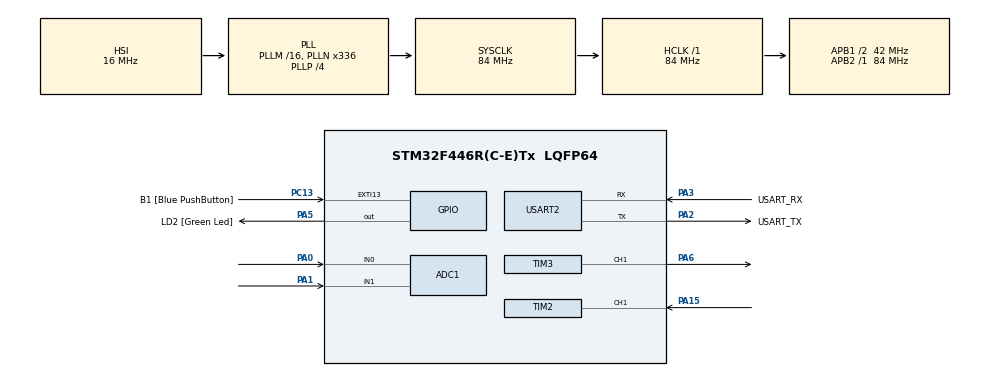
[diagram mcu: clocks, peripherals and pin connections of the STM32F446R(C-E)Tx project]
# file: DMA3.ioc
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Mcu.Family=STM32F4
Dma.TIM2_CH1.0.MemInc=DMA_MINC_ENABLE
PH0-OSC_IN.Signal=RCC_OSC_IN
RCC.CortexFreq_Value=84000000
TIM2.Channel-Input_Capture1_from_TI1=TIM_CHANNEL_1
Dma.USART2_TX.1.MemInc=DMA_MINC_ENABLE
PA14.GPIO_Label=TCK
Dma.TIM2_CH1.0.Instance=DMA1_Stream5
PC13.GPIO_Label=B1 [Blue PushButton]
RCC.SYSCLKSource=RCC_SYSCLKSOURCE_PLLCLK
ProjectManager.StackSize=0x400
Mcu.UserConstants=ARRT3_MIN,5999;ARRT3_MAX,41999
TIM2.ICPolarity_CH1=TIM_INPUTCHANNELPOLARITY_BOTHEDGE
RCC.HCLKFreq_Value=84000000
RCC.APB2TimFreq_Value=84000000
TIM3.Period=41999
VP_TIM10_VS_ClockSourceINT.Mode=Enable_Timer
Dma.USART2_TX.1.Mode=DMA_NORMAL
NVIC.DMA2_Stream0_IRQn=true\:0\:0\:false\:false\:true\:false\:true
RCC.AHBFreq_Value=84000000
PH0-OSC_IN.Mode=HSE-External-Oscillator
TIM3.Channel-PWM\ Generation1\ CH1=TIM_CHANNEL_1
NVIC.EXTI15_10_IRQn=true\:0\:0\:false\:false\:true\:true\:true
ADC1.Channel-0\#ChannelRegularConversion=ADC_CHANNEL_0
TIM10.AutoReloadPreload=TIM_AUTORELOAD_PRELOAD_DISABLE
NVIC.TIM1_TRG_COM_TIM11_IRQn=true\:0\:0\:false\:false\:true\:true\:true
RCC.HSE_VALUE=8000000
NVIC.TIM8_TRG_COM_TIM14_IRQn=true\:0\:0\:false\:false\:true\:true\:true
Dma.ADC1.2.MemDataAlignment=DMA_MDATAALIGN_HALFWORD
PC14-OSC32_IN.Mode=LSE-External-Oscillator
PA14.Mode=Serial_Wire
Dma.USART2_TX.1.Instance=DMA1_Stream6
TIM3.Prescaler=1999
NVIC.TIM2_IRQn=true\:0\:0\:false\:false\:true\:true\:true
Dma.ADC1.2.Direction=DMA_PERIPH_TO_MEMORY
SH.ADCx_IN0.0=ADC1_IN0,IN0
SH.S_TIM3_CH1.0=TIM3_CH1,PWM Generation1 CH1
ADC1.SamplingTime-0\#ChannelRegularConversion=ADC_SAMPLETIME_3CYCLES
RCC.FLatency-AdvancedSettings=FLASH_LATENCY_2
TIM3.OCPolarity_1=TIM_OCPOLARITY_LOW
PH1-OSC_OUT.Mode=HSE-External-Oscillator
Mcu.Package=LQFP64
TIM2.Prescaler=83
PA6.Signal=S_TIM3_CH1
Dma.TIM2_CH1.0.FIFOMode=DMA_FIFOMODE_DISABLE
USART2.VirtualMode=VM_ASYNC
PA2.GPIO_Label=USART_TX
PA15.Signal=S_TIM2_CH1_ETR
Dma.TIM2_CH1.0.PeriphDataAlignment=DMA_PDATAALIGN_WORD
TIM8.Prescaler=999
SH.ADCx_IN1.0=ADC1_IN1,IN1
Dma.Request2=ADC1
Dma.Request1=USART2_TX
RCC.APB1TimFreq_Value=84000000
NVIC.DMA1_Stream6_IRQn=true\:0\:0\:false\:false\:true\:false\:true
Dma.Request0=TIM2_CH1
Dma.TIM2_CH1.0.Direction=DMA_PERIPH_TO_MEMORY
VP_TIM3_VS_ClockSourceINT.Mode=Internal
Dma.ADC1.2.Mode=DMA_NORMAL
PA3.Signal=USART2_RX
PB3.GPIO_Label=SWO
TIM10.Prescaler=1999
PC15-OSC32_OUT.Mode=LSE-External-Oscillator
Dma.USART2_TX.1.Priority=DMA_PRIORITY_HIGH
ADC1.Rank-0\#ChannelRegularConversion=1
Dma.USART2_TX.1.FIFOMode=DMA_FIFOMODE_DISABLE
TIM3.AutoReloadPreload=TIM_AUTORELOAD_PRELOAD_ENABLE
PC13.Signal=GPXTI13
Dma.ADC1.2.PeriphDataAlignment=DMA_PDATAALIGN_HALFWORD
TIM11.Prescaler=1999
RCC.APB1CLKDivider=RCC_HCLK_DIV2
PC14-OSC32_IN.Signal=RCC_OSC32_IN
Dma.USART2_TX.1.PeriphDataAlignment=DMA_PDATAALIGN_BYTE
NVIC.USART2_IRQn=true\:0\:0\:false\:false\:true\:true\:true
PA0-WKUP.Signal=ADCx_IN0
VP_TIM11_VS_ClockSourceINT.Mode=Enable_Timer
PA3.Mode=Asynchronous
PA13.Signal=SYS_JTMS-SWDIO
Dma.ADC1.2.MemInc=DMA_MINC_ENABLE
NVIC.TIM8_CC_IRQn=true\:0\:0\:false\:false\:true\:true\:true
TIM3.Pulse-PWM\ Generation1\ CH1=20999
ProjectManager.TargetToolchain=STM32CubeIDE
NVIC.DMA1_Stream5_IRQn=true\:0\:0\:false\:false\:true\:false\:true
NVIC.TIM8_BRK_TIM12_IRQn=true\:0\:0\:false\:false\:true\:true\:true
ADC1.Channel-1\#ChannelRegularConversion=ADC_CHANNEL_1
VP_TIM8_VS_ClockSourceINT.Mode=Internal
RCC.USBFreq_Value=168000000
PC15-OSC32_OUT.Signal=RCC_OSC32_OUT
PA1.Signal=ADCx_IN1
PA5.Signal=GPIO_Output
Dma.USART2_TX.1.PeriphInc=DMA_PINC_DISABLE
board=NUCLEO-F446RE
RCC.VCOOutputFreq_Value=336000000
NVIC.TIM3_IRQn=true\:0\:0\:false\:false\:true\:true\:true
TIM11.Period=41999
TIM10.Period=41999
Dma.USART2_TX.1.Direction=DMA_MEMORY_TO_PERIPH
RCC.APB2Freq_Value=84000000
Dma.TIM2_CH1.0.Priority=DMA_PRIORITY_VERY_HIGH
VP_TIM2_VS_ClockSourceINT.Mode=Internal
PH1-OSC_OUT.Signal=RCC_OSC_OUT
ADC1.DMAContinuousRequests=ENABLE
TIM2.Period=999999
ADC1.NbrOfConversion=2
PA13.Mode=Serial_Wire
Mcu.Name=STM32F446R(C-E)Tx
PA2.Signal=USART2_TX
PA13.GPIO_Label=TMS
Dma.ADC1.2.Instance=DMA2_Stream0
ADC1.ExternalTrigConv=ADC_EXTERNALTRIGCONV_T8_TRGO
TIM8.Period=139
RCC.48MHZClocksFreq_Value=84000000
PB3.Signal=SYS_JTDO-SWO
ADC1.SamplingTime-1\#ChannelRegularConversion=ADC_SAMPLETIME_3CYCLES
RCC.SYSCLKFreq_VALUE=84000000
Dma.ADC1.2.Priority=DMA_PRIORITY_LOW
Dma.TIM2_CH1.0.Mode=DMA_NORMAL
ADC1.master=1
PA5.GPIO_Label=LD2 [Green Led]
Dma.ADC1.2.PeriphInc=DMA_PINC_DISABLE
TIM8.TIM_MasterOutputTrigger=TIM_TRGO_UPDATE
PC13.GPIO_ModeDefaultEXTI=GPIO_MODE_IT_FALLING
ADC1.Rank-1\#ChannelRegularConversion=2
SH.S_TIM2_CH1_ETR.0=TIM2_CH1,Input_Capture1_from_TI1
Dma.TIM2_CH1.0.MemDataAlignment=DMA_MDATAALIGN_WORD
PA14.Signal=SYS_JTCK-SWCLK
ProjectManager.HeapSize=0x200
Dma.ADC1.2.FIFOMode=DMA_FIFOMODE_DISABLE
RCC.HSI_VALUE=16000000
NVIC.TIM8_UP_TIM13_IRQn=true\:0\:0\:false\:false\:true\:true\:true
TIM11.AutoReloadPreload=TIM_AUTORELOAD_PRELOAD_DISABLE
RCC.PLLP=RCC_PLLP_DIV4
NVIC.PriorityGroup=NVIC_PRIORITYGROUP_0
ADC1.NbrOfConversionFlag=1
RCC.PLLN=336
PA2.Mode=Asynchronous
Dma.USART2_TX.1.MemDataAlignment=DMA_MDATAALIGN_BYTE
RCC.APB1Freq_Value=42000000
Dma.TIM2_CH1.0.PeriphInc=DMA_PINC_DISABLE
PA3.GPIO_Label=USART_RX

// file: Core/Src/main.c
/**
 * Jaqueline Maurer Machado		Turma 4422		Nº 11
 * Exercício 3 da Lista de DMA
 */

/* USER CODE BEGIN Header */
/**
  ******************************************************************************
  * @file           : main.c
  * @brief          : Main program body
  ******************************************************************************
  * @attention
  *
  * <h2><center>&copy; Copyright (c) 2021 STMicroelectronics.
  * All rights reserved.</center></h2>
  *
  * This software component is licensed by ST under BSD 3-Clause license,
  * the "License"; You may not use this file except in compliance with the
  * License. You may obtain a copy of the License at:
  *                        opensource.org/licenses/BSD-3-Clause
  *
  ******************************************************************************
  */
/* USER CODE END Header */
#include "main.h"
#include "adc.h"
#include "dma.h"
#include "tim.h"
#include "usart.h"
#include "gpio.h"
#include <stdio.h>
#include <string.h>

/* USER CODE BEGIN PV */
///variavel que confere o primeiro valor medido do periodo
int64_t initVal = -1;
///variavel que pega o final da medição do periodo
int64_t valI = 0;
///variavel que controla o numero de estouros do timer dentro de uma medição
int64_t valE = 0;
///volatile significa que o DMA nao consegue escrever se nao for especificado que eh volatile
///volatile → alguma coisa de fora ira mudar o valor dessa variavel (DMA, ADC...)
///usar volatil se o valor da variavel for alterado, se só for lido nao precisa
volatile uint64_t value;
///flag para o timer 2
uint8_t flag = 0;
///flag para o timer 10, que exibe a mensagem da serial
uint8_t flagT = 0;
///flag que controla quando acontece a interrupção externa pelo PC13
uint8_t flagP = 0;
///variavel para calcular o periodo
uint64_t periodo = 0;
///variavel que pega o meio do periodo → borda de subida ou descida, dependendo o caso
uint64_t periodoI = 0;
///realiza 4 medições para depois fazer a media
volatile uint16_t medidas[4];
///variáveis para calcular as médias
uint16_t media1;
uint16_t media2;
///string usada para imprimir a mensagem na serial
char msg[50];

/* USER CODE END PV */

void SystemClock_Config(void);

int main(void)
{

  /* MCU Configuration--------------------------------------------------------*/

  /* Reset of all peripherals, Initializes the Flash interface and the Systick. */
  HAL_Init();

  /* Configure the system clock */
  SystemClock_Config();

  /* Initialize all configured peripherals */
  MX_GPIO_Init();
  MX_DMA_Init();
  MX_USART2_UART_Init();
  MX_TIM2_Init();
  MX_TIM3_Init();
  MX_TIM10_Init();
  MX_TIM11_Init();
  MX_ADC1_Init();
  MX_TIM8_Init();
  /* USER CODE BEGIN 2 */
  HAL_TIM_Base_Start(&htim10); ///habilita o timer 10

  HAL_TIM_Base_Start_IT(&htim11); ///habilita o timer 11

  ///foi usado o timer 2 pois ele possui um valor maior que pode ser usado no ARR para dar o valor do periodo direto em micro segundos
  ///E colocar ambas as bordas na corfiguracao para fazer o que o exercicio pede
  HAL_TIM_IC_Start_DMA(&htim2, TIM_CHANNEL_1, &value, 1); ///Habilita o Input Capture com DMA do Timer2 → PA15 → canal 1

  HAL_TIM_PWM_Start_IT(&htim3, TIM_CHANNEL_1); ///PWM usado para gerar um sinal que sera usado para medir se o programa esta funcioando → marcar a opçao para ele começar desligado
  ///sempre desliga no estouro do timer → colocando a frequencia do timer vai ser a frequencia do sinal
  ///PWM → modulação de largura de pulso

  HAL_TIM_Base_Start_IT(&htim8); ///habilita uma frequencia aleatoria de PSC = 999 e ARR = 139
  ///Trigger Output → ativar o Update Event

  ///no IOC, o ADC esta configurado para ser ativado pelo timer, para continuar a sequencia de 4 medidas, que vao ser salvas dentro de um vetor de quatro espaços
  HAL_ADC_Start_DMA(&hadc1, medidas, 4);///usando dois canais do ADC, adiciona o DMA no ADC1, mudar a prioridade dele (que vem em Low) → tem 4 medidas de ADC
  ///parametros → DMA continuous request colocar em enable e External Trigger Conversion Source → timer 8 Trigger out event (pq o 3 ja estava em uso)
  ///numero de conversoes = 2 pois esta usando duas entradas (que abre dois ranks, colocar um em 0 e outro em 1), detecção de borda de subida
 ///mudar a configuração de botao do PC13 → GPIO_EXIT13 → e habilitar em System Core → GPIO, marcar PC13 e external interrupt mode with falling tra la la em GPIO mode, pois cada vez que precionado sera considerado como uma interrupção externa
  ///GPIO → NVIC → ENABLE

  ///push botton → juntar com o de cima na proto
  ///PA6 gera o sinal do PWM → ligar com os dois de cima
  ///com os três ligados, ligar um led para o terra para ver piscando
  ///duas entradas do ADC, colocar em dois potenciomentos (no meio), um deles muda a frequencia do led e o outro quanto % do tempo o led fica ligado e desligado
  ///como ligar o potenciometro → o pino do ADC ligado no meio, uma ponta no VCC e a outra no terra
  ///se colocar o periodo no maximo, ele fica quase 1 segundo ligado, se ficar no minimo, ele fica quase o tempo todo desligado

  /* USER CODE END 2 */

  /* Infinite loop */
  /* USER CODE BEGIN WHILE */
  while (1)
  { ///imprime na serial

	  if(__HAL_TIM_GET_FLAG(&htim10, TIM_FLAG_UPDATE)){ ///verifica se passou 1 segundo do Timer10 para imprimir a mensagem na tela (a mensagem é mostrada de 1 em 1 segundo para não ficar muito poluído)
		  ///eh mostrado uma das três mensagens a cada segundo
		if(flagT==0 && periodo!=0){ ///flagT começa em zero, entao será o primeiro valor a ser exibido
			///periodo total do sinal
			sprintf(msg, "Periodo do Sinal: %4luus\n\r",periodo); ///imprime o valor do periodo total na serial
			flagT=1; ///altera o valor de flagT para 1 para entrar no proximo if e exibir a proxima mensagem
			HAL_UART_Transmit_IT(&huart2, msg, strlen(msg)); ///Usando a usart2, trasmite a mensagem
		}
		else if (flagT==1){ ///se ja imprimiu a mensagem de cima, entra nessa if
			///periodo de trabalho = periodo que o sinal fica em nivel logico 1, ou seja, que ele definitivamente "trabalha" → usando a variavel periodoI, que pega o "meio do sinal"
			sprintf(msg, "Periodo de Trabalho do Sinal: %4luus\n\r",flagP==0? periodoI : periodo - periodoI); ///faz o cálculo da frequência 1 dividindo o CLOCK do ARM pela multiplicação do período medido + 1 e o valor de PSC (que nesse caso é 47)
			flagT=2; ///altera o valor de flagT para 2 para entrar no proximo if e exibir a proxima mensagem
			HAL_UART_Transmit_IT(&huart2, msg, strlen(msg)); ///Usando a usart2, trasmite a mensagem
		}
		else if(flagT==2){ ///se ja imprimiu a mensagem de cima, entra nessa if
			///calcula a porcentagem que o led fica ligado → tambem usando a variavel de periodoI
			sprintf(msg, "Representa %i%% do Sinal\n\r",flagP==0? (periodoI*100/periodo) : ((periodo - periodoI)*100/periodo));
			flagT=0; ///altera o valor de flagT de volta para zero para imprimir a primeira mensagem novamente
			periodo=0; ///zera o periodo para que ele possa ser calculado novamente
			HAL_UART_Transmit_IT(&huart2, msg, strlen(msg)); ///Usando a usart2, trasmite a mensagem
		}
		__HAL_TIM_CLEAR_FLAG(&htim10, TIM_FLAG_UPDATE);
	}

    /* USER CODE END WHILE */

  }
}

void SystemClock_Config(void)
{
  RCC_OscInitTypeDef RCC_OscInitStruct = {0};
  RCC_ClkInitTypeDef RCC_ClkInitStruct = {0};

  /** Configure the main internal regulator output voltage
  */
  __HAL_RCC_PWR_CLK_ENABLE();
  __HAL_PWR_VOLTAGESCALING_CONFIG(PWR_REGULATOR_VOLTAGE_SCALE3);
  /** Initializes the RCC Oscillators according to the specified parameters
  * in the RCC_OscInitTypeDef structure.
  */
  RCC_OscInitStruct.OscillatorType = RCC_OSCILLATORTYPE_HSI;
  RCC_OscInitStruct.HSIState = RCC_HSI_ON;
  RCC_OscInitStruct.HSICalibrationValue = RCC_HSICALIBRATION_DEFAULT;
  RCC_OscInitStruct.PLL.PLLState = RCC_PLL_ON;
  RCC_OscInitStruct.PLL.PLLSource = RCC_PLLSOURCE_HSI;
  RCC_OscInitStruct.PLL.PLLM = 16;
  RCC_OscInitStruct.PLL.PLLN = 336;
  RCC_OscInitStruct.PLL.PLLP = RCC_PLLP_DIV4;
  RCC_OscInitStruct.PLL.PLLQ = 2;
  RCC_OscInitStruct.PLL.PLLR = 2;
  if (HAL_RCC_OscConfig(&RCC_OscInitStruct) != HAL_OK)
  {
    Error_Handler();
  }
  /** Initializes the CPU, AHB and APB buses clocks
  */
  RCC_ClkInitStruct.ClockType = RCC_CLOCKTYPE_HCLK|RCC_CLOCKTYPE_SYSCLK
                              |RCC_CLOCKTYPE_PCLK1|RCC_CLOCKTYPE_PCLK2;
  RCC_ClkInitStruct.SYSCLKSource = RCC_SYSCLKSOURCE_PLLCLK;
  RCC_ClkInitStruct.AHBCLKDivider = RCC_SYSCLK_DIV1;
  RCC_ClkInitStruct.APB1CLKDivider = RCC_HCLK_DIV2;
  RCC_ClkInitStruct.APB2CLKDivider = RCC_HCLK_DIV1;

  if (HAL_RCC_ClockConfig(&RCC_ClkInitStruct, FLASH_LATENCY_2) != HAL_OK)
  {
    Error_Handler();
  }
}

/* USER CODE BEGIN 4 */
void HAL_GPIO_EXTI_Callback(uint16_t GPIO_Pin){ ///pino configurado para ser uma interrupção externa → nesse caso eh o PC13
	flagP=flag; ///toda vez q o de baixo der uma borda de descida, salva o valor
	///borda de descida = terminou o periodo ativo do sinal
	///ligar OUT e IN junto na proto (conferir os pinos) e depois liga em um led
}
void HAL_TIM_IC_CaptureCallback(TIM_HandleTypeDef *htim){
	uint64_t calc(long a, long b, long c, long ARR); ///Declarando a função calc

	///o periodo de trabalho eh o tempo do sinal em high
	if(htim->Channel == HAL_TIM_ACTIVE_CHANNEL_1){ ///interrupção do canal 1 do timer 2
		///eh preciso medir a borda de subida e de descida
		if (initVal == -1) { ///se initVal estiver com seu valor inicial, que é -1
			initVal = value; ///com o estouro, salva o valor que estava no contador
		} else { ///se initVal for diferente de -1, ou seja, se já mediu alguma coisa
			if(flag == 0){ ///se ainda esta calculando o periodo "do meio" → periodoI (usado para calcular o periodo de trabalho)
				periodoI = calc(initVal, value, valE, 999999); ///calcula o periodo utilizando a função criada calc
				flag = 1; ///muda o valor de flag para ser diferente de zero e entrar no else abaixo
			}else { ///se ja esta calculando o periodo total → periodo
				///calcula de novo, tudo dessa vez, porque agora esta no final, sabendo quantos estouros do timer teve
				periodo = calc(initVal, value, valE, 999999); ///calcula o periodo utilizando a função criada calc
				initVal = value; ///initVal volta ao seu valor
				valE = 0; ///zera valE
				flag = 0; ///zera a flag
			}
		}
	}
	HAL_TIM_IC_Start_DMA(&htim2, TIM_CHANNEL_1, &value, 1); ///Habilita o Input Capture com Interrupção do Timer2 → PA0 → canal 1
}

/**
 * @brief Função que faz o cálculo do periodo desejado
 * @brief Eh exatamente a mesma função usada no exercicio anterior, que era de IC e tambem era necessario medir o periodo do sinal
 */
uint64_t calc(long a, long b, long c, long ARR){ ///entra-se com 4 valores para fazer o cálculo, que vão ser os valores de initVal, valI, valE e ARR_CL
	uint64_t period; ///variavel que retorna o periodo calculado na função
	if(c > 0) ///se o número de períodos medidos durante a medição for 1 ou mais
	{
		if(c > 1) ///se o número de períodos medidos durante a medição for mais que 1
		{
			c--;    ///ignorando o final do primeiro periodo
			period = (ARR - a + b) + (ARR) * c; /// se entre o valor inicial e o valor final (Internal) houverem periodos completos do timer3
			///ou seja, se tiver mais que um período, utiliza o mesmo cálculo só acrescenta a parte de multiplicar o valor do ARR pelo número de períodos a mais que teve
		}
		///se o número de períodos medidos durante a medição for 1
		else period = (ARR - a + b); /// se o valor inicial e o valor final (Internal) estiverem em periodos subsequentes do timer3
		///ou seja, se houver passado somente um período
	}
	///se o número de períodos medidos durante a medição não completar 1 inteiro
	else period = b - a; /// se ainda estiver dentro do mesmo periodo do timer3, ou seja, não tiver passado um período completo
	return period + 1; /// a função retorna o valor do periodo calculado
	///ele poderia entregar 0us, mas na real eh 1, entao soma +1
}

void HAL_TIM_PeriodElapsedCallback(TIM_HandleTypeDef *htim){ ///Interrupção do final do timer 11, ou seja, estouro do timer
	if (htim->Instance == TIM11) ///se a interrupção do timer 11 estourou
		///se initVal for maior que -1, ou seja, se ja passou no minimo um estouro do timer
			if(initVal > -1) valE++; ///conta quantas vezes o timer estourou adicionando na variável valE
}
void HAL_ADC_ConvCpltCallback(ADC_HandleTypeDef* hadc){
	uint16_t a=__HAL_TIM_GET_AUTORELOAD(&htim3); ///pega o valor total de ARR
	uint16_t p=__HAL_TIM_GET_COMPARE(&htim3,TIM_CHANNEL_1); ///valor atual do COMPARE do mesmo timer
	uint16_t pul;
	uint16_t arr;
	media2=medidas[1];
	media2+=medidas[3];
	media2/=2;
	///faz a media tambem
	///o PWM esta em 1Hz → PSC = 1999 e ARR = 41999 → gera o periodo do sinal → MAX
	///uma outra frequencia → 7Hz → PSC = 1999 e ARR = 5999 → MIN
	///Valores de constantes no IOC
	///O led pisca em uma frequencia que pode variar de 1Hz ate 7Hz → esse valor foi pre-determinado, mas pode ser alterado de acordo com o desejado
	///foi escolhido uma frequencia mais baixa para que seja possivel visualizar melhor a mudança da piscada do led
	arr= media2*(ARRT3_MAX-ARRT3_MIN)/4095+ARRT3_MIN; ///faz uma porcentagem → o maximo da medida eh 4095
	///media2 x variação → divide por 4095 e vai dar um valor entre 0 e 36000 e depois soma 6000 de volta na conta para desse jeito ter o novo valor de ARR
	if(arr<a*0.9 || arr>a*1.1)__HAL_TIM_SET_AUTORELOAD(&htim3, arr); ///se o ARR variar +10% ou -10%, seta ele para o valor novo
	media1=medidas[0];
	media1+=medidas[2];
	media1/=2;
	///faz duas medidas e depois faz a media das duas
	pul=media1*arr/4095; ///mesma coisa que o anterior para esse aqui, mas como eh o minimo nao precisa fazer a soma
	if(pul<p*0.9 || pul>p*1.1)__HAL_TIM_SET_COMPARE(&htim3,TIM_CHANNEL_1, pul); ///mesma coisa do anterior → confere se esta +10% ou -10% e seta ele para o novo valor

	HAL_ADC_Start_DMA(&hadc1, medidas, 4); ///manda rodar novamente
	///quando for usar DMA, tem que ativar de novo, todas as vezes
}
/* USER CODE END 4 */

void Error_Handler(void)
{
  __disable_irq();
  while (1)
  {
  }
}

/************************ (C) COPYRIGHT STMicroelectronics *****END OF FILE****/
